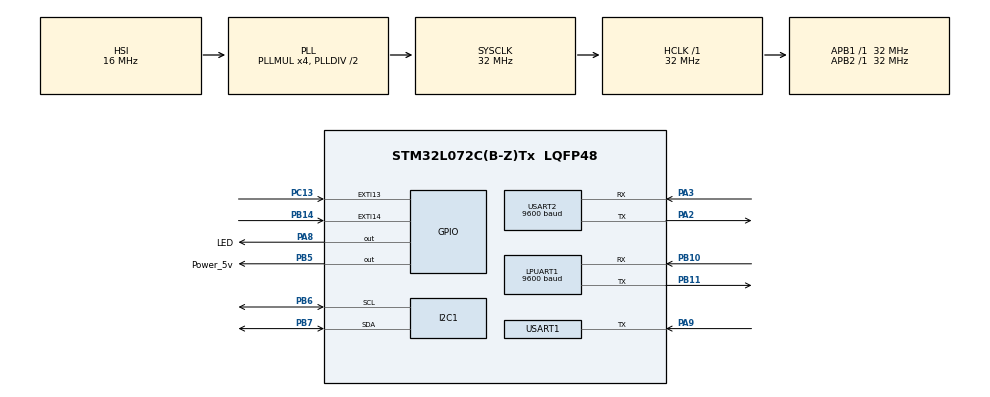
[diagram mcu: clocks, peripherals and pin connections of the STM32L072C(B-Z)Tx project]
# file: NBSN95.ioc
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ADC.ClockPrescaler=ADC_CLOCK_SYNC_PCLK_DIV4
Dma.LPUART1_TX.0.Direction=DMA_MEMORY_TO_PERIPH
Dma.LPUART1_TX.0.Instance=DMA1_Channel2
Dma.LPUART1_TX.0.MemDataAlignment=DMA_MDATAALIGN_BYTE
Dma.LPUART1_TX.0.MemInc=DMA_MINC_ENABLE
Dma.LPUART1_TX.0.Mode=DMA_NORMAL
Dma.LPUART1_TX.0.PeriphDataAlignment=DMA_PDATAALIGN_BYTE
Dma.LPUART1_TX.0.PeriphInc=DMA_PINC_DISABLE
Dma.LPUART1_TX.0.Priority=DMA_PRIORITY_HIGH
Dma.Request0=LPUART1_TX
Dma.Request1=USART1_RX
Dma.USART1_RX.1.Direction=DMA_PERIPH_TO_MEMORY
Dma.USART1_RX.1.Instance=DMA1_Channel3
Dma.USART1_RX.1.MemDataAlignment=DMA_MDATAALIGN_BYTE
Dma.USART1_RX.1.MemInc=DMA_MINC_ENABLE
Dma.USART1_RX.1.Mode=DMA_CIRCULAR
Dma.USART1_RX.1.PeriphDataAlignment=DMA_PDATAALIGN_BYTE
Dma.USART1_RX.1.PeriphInc=DMA_PINC_DISABLE
Dma.USART1_RX.1.Priority=DMA_PRIORITY_HIGH
I2C1.Timing=0x00303D5B
IWDG.Prescaler=IWDG_PRESCALER_256
LPUART1.BaudRate=9600
LPUART1.DMADisableonRxErrorParam=UART_ADVFEATURE_DMA_DISABLEONRXERROR
LPUART1.OverrunDisableParam=UART_ADVFEATURE_OVERRUN_DISABLE
LPUART1.WordLength=UART_WORDLENGTH_8B
Mcu.Family=STM32L0
Mcu.Name=STM32L072C(B-Z)Tx
Mcu.Package=LQFP48
NVIC.DMA1_Channel2_3_IRQn=true\:0\:0\:false\:false\:true\:false\:true\:true
NVIC.EXTI4_15_IRQn=true\:2\:0\:true\:false\:true\:true\:true\:true
NVIC.RNG_LPUART1_IRQn=true\:1\:0\:true\:false\:true\:true\:true\:true
NVIC.RTC_IRQn=true\:0\:0\:false\:false\:true\:true\:true\:true
NVIC.USART1_IRQn=true\:0\:0\:false\:false\:true\:true\:true\:true
NVIC.USART2_IRQn=true\:1\:0\:true\:false\:true\:true\:true\:true
PA13.Mode=Serial_Wire
PA13.Signal=SYS_SWDIO
PA14.Mode=Serial_Wire
PA14.Signal=SYS_SWCLK
PA2.Mode=Asynchronous
PA2.Signal=USART2_TX
PA3.Mode=Asynchronous
PA3.Signal=USART2_RX
PA8.GPIO_Label=LED
PA8.GPIO_Speed=GPIO_SPEED_FREQ_VERY_HIGH
PA8.Signal=GPIO_Output
PA9.Mode=Half_duplex(single_wire_mode)
PA9.Signal=USART1_TX
PB10.GPIO_PuPd=GPIO_PULLUP
PB10.Mode=Asynchronous
PB10.Signal=LPUART1_RX
PB11.GPIO_PuPd=GPIO_PULLUP
PB11.Mode=Asynchronous
PB11.Signal=LPUART1_TX
PB14.GPIO_ModeDefaultEXTI=GPIO_MODE_IT_FALLING
PB14.Signal=GPXTI14
PB5.GPIO_Label=Power_5v
PB5.GPIO_Speed=GPIO_SPEED_FREQ_VERY_HIGH
PB5.PinState=GPIO_PIN_SET
PB5.Signal=GPIO_Output
PB6.GPIO_Pu=GPIO_PULLUP
PB6.Mode=I2C
PB6.Signal=I2C1_SCL
PB7.GPIO_Pu=GPIO_PULLUP
PB7.Mode=I2C
PB7.Signal=I2C1_SDA
PC13.GPIO_ModeDefaultEXTI=GPIO_MODE_IT_FALLING
PC13.Signal=GPXTI13
PC14-OSC32_IN.Mode=LSE-External-Oscillator
PC14-OSC32_IN.Signal=RCC_OSC32_IN
PC15-OSC32_OUT.Mode=LSE-External-Oscillator
PC15-OSC32_OUT.Signal=RCC_OSC32_OUT
ProjectManager.HeapSize=0x200
ProjectManager.StackSize=0x400
ProjectManager.TargetToolchain=MDK-ARM V5.27
RCC.AHBFreq_Value=32000000
RCC.APB1Freq_Value=32000000
RCC.APB1TimFreq_Value=32000000
RCC.APB2Freq_Value=32000000
RCC.APB2TimFreq_Value=32000000
RCC.HCLKFreq_Value=32000000
RCC.HSE_VALUE=8000000
RCC.HSI16_VALUE=16000000
RCC.HSI48_VALUE=48000000
RCC.HSI_VALUE=16000000
RCC.I2c1ClockSelection=RCC_I2C1CLKSOURCE_HSI
RCC.LptimClockSelection=RCC_LPTIM1CLKSOURCE_HSI
RCC.Lpuart1ClockSelection=RCC_LPUART1CLKSOURCE_HSI
RCC.MSI_VALUE=2097000
RCC.PLLMUL=RCC_PLLMUL_4
RCC.RTCClockSelection=RCC_RTCCLKSOURCE_LSI
RCC.RTCClockSelectionVirtual=RCC_RTCCLKSOURCE_LSE
RCC.SYSCLKFreq_VALUE=32000000
RCC.SYSCLKSource=RCC_SYSCLKSOURCE_PLLCLK
RCC.Usart1ClockSelection=RCC_USART1CLKSOURCE_HSI
RCC.Usart2ClockSelection=RCC_USART2CLKSOURCE_HSI
RCC.VCOOutputFreq_Value=64000000
RTC.Alarm-Alarm\ A=RTC_ALARM_A
RTC.Alarm_B-Alarm\ B=RTC_ALARM_B
RTC.Seconds_A-Alarm\ A=5
RTC.Seconds_B-Alarm\ B=3
USART1.BaudRate=9600
USART1.Mode=MODE_RX
USART1.VirtualMode-Half_duplex(single_wire_mode)=VM_ASYNC
USART2.BaudRate=9600
USART2.DMADisableonRxErrorParam=ADVFEATURE_DMA_DISABLEONRXERROR
USART2.Mode=MODE_TX_RX
USART2.OverrunDisableParam=ADVFEATURE_OVERRUN_DISABLE
USART2.VirtualMode-Asynchronous=VM_ASYNC
VP_ADC_Vref_Input.Mode=IN-Vrefint
VP_IWDG_VS_IWDG.Mode=IWDG_Activate
VP_RTC_VS_RTC_Activate.Mode=RTC_Enabled
VP_RTC_VS_RTC_Alarm_A_Intern.Mode=Alarm A
VP_RTC_VS_RTC_Alarm_B_Intern.Mode=Alarm B
VP_RTC_VS_RTC_Calendar.Mode=RTC_Calendar
board=custom

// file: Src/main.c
/* USER CODE BEGIN Header */
/**
  ******************************************************************************
  * @file           : main.c
  * @brief          : Main program body
  ******************************************************************************
  * @attention
  *
  * <h2><center>&copy; Copyright (c) 2020 STMicroelectronics.
  * All rights reserved.</center></h2>
  *
  * This software component is licensed by ST under BSD 3-Clause license,
  * the "License"; You may not use this file except in compliance with the
  * License. You may obtain a copy of the License at:
  *                        opensource.org/licenses/BSD-3-Clause
  *
  ******************************************************************************
	AMS 25Aug22 - added support for A0221AU ultra-sonic which is similar to A02YYUW
	which sends a byte every 300µs over serial - (see ultrasound.c for details). I setup
	UART1 to RX only.
  */
/* USER CODE END Header */
#include "main.h"
#include "adc.h"
#include "dma.h"
#include "i2c.h"
#include "iwdg.h"
#include "usart.h"
#include "rtc.h"
#include "gpio.h"

/* USER CODE BEGIN Includes */
#include "at.h"
#include "lowpower.h"
#include "nbInit.h"
#include "ultrasound.h"
#include "stm32l0xx_hal.h"
/* USER CODE END Includes */

/* USER CODE BEGIN PTD */

/* debug macro definition ----------------------------------------------------*/

//#define ST_DEBUG
#ifndef ST_DEBUG
	#define lowpower_enter
#endif
/* USER CODE END PTD */

/* USER CODE BEGIN PD */

/* NBIOT task macro definition, the task in NBTASK will not be executed after commenting out -*/
#define NBIOT

#define uart1_nibble_size 4
/* USER CODE END PD */

/* USER CODE BEGIN PV */
// uint8_t	1 byte	max 255
// uint16_t	2 bytes	max 65,535 unsigned - A 2-byte signed integer can have a range from -32,768 to 32,767
// uint32_t 4 bytes 	max 4,294,967,295 unsigned, -2,147,483,648 to 2,147,483,647 signed
// https://developer.arm.com/documentation/dui0472/k/C-and-C---Implementation-Details/Basic-data-types-in-ARM-C-and-C--

#ifdef AMS_DEBUG // defined in main.h
	static uint32_t loopcount = 0; // AMS - remove once debugged
#endif // AMS_DEBUG

uint16_t distance_uart1; // max 4000mm

// USART1
static uint8_t uart1_nibble[uart1_nibble_size] = {0};
static uint8_t uart1_rx = 0; // flag

// USART2
static uint8_t  rxbuf_2 = 0;
static uint16_t rxlen_2 = 0;
static uint8_t  rxDATA_2[300]={0};
static uint8_t  uart2_recieve_flag = 0;

static uint8_t rxbuf_lp;
static uint8_t lpuart_recieve_flag = 0;

static uint8_t pwd_time_count = 0;			//Password time count times

static uint8_t task_num = _AT_IDLE;			//NB task directory

static uint8_t error_num = 0;				    //Error count

static uint8_t uplink_time_num = 0;
/* USER CODE END PV */

void SystemClock_Config(void);
/* USER CODE BEGIN PFP */
static void USERTASK(void);
/* USER CODE END PFP */

int main(void)
{
  /* USER CODE BEGIN 1 */
	#ifdef AMS_DEBUG
		__HAL_RCC_DBGMCU_CLK_ENABLE();
		__HAL_DBGMCU_FREEZE_IWDG(); // AMS - remove once debugged - did not work
	#endif // AMS_DEBUG
  /* USER CODE END 1 */

  /* MCU Configuration--------------------------------------------------------*/

  /* Reset of all peripherals, Initializes the Flash interface and the Systick. */
  HAL_Init();

  /* Configure the system clock */
  SystemClock_Config();

  /* Initialize all configured peripherals */
  MX_GPIO_Init();
  MX_DMA_Init();
  MX_USART2_UART_Init();
  MX_LPUART1_UART_Init();
  MX_ADC_Init();
  MX_I2C1_Init();
  MX_USART1_UART_Init();
  MX_IWDG_Init();
  MX_RTC_Init();
  /* USER CODE BEGIN 2 */
	reboot_information_print();
	#ifndef AMS_DEBUG
		new_firmware_update();
	#endif // AMS_DEBUG
	config_Get();
	product_information_print();
	#ifdef AMS_DEBUG
		user_main_info("start HAL_UART_Receive_DMA res = %u\r\n", UART1_DMA);
		uint8_t UART1_DMA = HAL_UART_Receive_DMA(&huart1,(uint8_t*)&uart1_nibble,uart1_nibble_size); // circular
		user_main_info("5v on\r\n");
		HAL_GPIO_WritePin(Power_5v_GPIO_Port, Power_5v_Pin, GPIO_PIN_RESET); // AMS - set back after debugging pin off = 5v on
//	HAL_UARTEx_ReceiveToIdle_DMA(&huart1, uart1_nibble,uart1_nibble_size);
//	HAL_StatusTypeDef res = HAL_UART_Receive_DMA(&huart1, (uint8_t*)&uart1_nibble,uart1_nibble_size);
//	__HAL_DMA_DISABLE_IT(&hdma_usart1_rx, DMA_IT_HT);
		led_on(5000);
	#else
		List_Init(sys.list);
		//	HAL_Delay(3000);
		HAL_UART_Receive_IT(&hlpuart1,(uint8_t*)&rxbuf_lp,1);
		HAL_UART_Receive_IT(&huart2,(uint8_t*)&rxbuf_2,1);
		My_UARTEx_StopModeWakeUp(&huart2);				//Enable serial port wake up
		My_UARTEx_StopModeWakeUp(&hlpuart1);			//Enable serial port wake up
	#endif // AMS_DEBUG
  /* USER CODE END 2 */

  /* Infinite loop */
  /* USER CODE BEGIN WHILE */
#ifdef NBIOT
	if((*(__IO uint8_t *)EEPROM_USER_START_FDR_FLAG) == 0x01)
	{
		task_num = _AT_IDLE;
		HAL_FLASHEx_DATAEEPROM_Unlock();
		HAL_FLASHEx_DATAEEPROM_Program(FLASH_TYPEPROGRAMDATA_WORD,EEPROM_USER_START_FDR_FLAG,0x00);
		HAL_FLASHEx_DATAEEPROM_Lock();
	}
	else
		task_num = _AT_FLAG_INIT;
#else
	task_num = _AT_IDLE;
#endif
  while (1)
  {
		#ifdef AMS_DEBUG
			HAL_IWDG_Refresh(&hiwdg);
			led_on(100);
			loopcount++;
			if ((loopcount % 100) < 1)
			{
				user_main_debug("loop %i |", loopcount);
			}
		#else
			HAL_Delay(20);
		#endif // AMS_DEBUG
    /* USER CODE END WHILE */

    /* USER CODE BEGIN 3 */
		if(uart1_rx)
		{
			#ifdef AMS_DEBUG
				for (int i = 0; i < uart1_nibble_size; i++)
				{
					printf("%02x |", uart1_nibble[i]);
		//				uart1_nibble[id] = 0;
				}
				if(uart1_nibble[0] == 0xff) // header
				{
					uint8_t checksum = (uart1_nibble[0]+uart1_nibble[1]+uart1_nibble[2])&0x00FF; ;
					if(checksum==uart1_nibble[3])
					{
						distance_uart1=(uart1_nibble[1]<<8) + uart1_nibble[2];
							printf(" = %u mm\r\n",distance_uart1);
					}
							else
							{
								printf("\r\n");
							}
				}
				else if(uart1_nibble[2] == 0xff) // header
				{
					uint8_t checksum = (uart1_nibble[2]+uart1_nibble[3]+uart1_nibble[0])&0x00FF; ;
					if(checksum==uart1_nibble[1])
					{
						distance_uart1=(uart1_nibble[3]<<8) + uart1_nibble[0];
							printf(" = %u mm\r\n",distance_uart1);
					}
							else
							{
								printf("\r\n");
							}
				}
				else
				{
					printf(" unknown order\r\n");
				}
				led_on(200);
			#else
				if(uart1_nibble[0] == 0xff) // header
				{
					uint8_t checksum = (uart1_nibble[0]+uart1_nibble[1]+uart1_nibble[2])&0x00FF; ;
					if(checksum==uart1_nibble[3])
					{
						distance_uart1=(uart1_nibble[1]<<8) + uart1_nibble[2];
					}
				}
				else if(uart1_nibble[2] == 0xff) // header
				{
					uint8_t checksum = (uart1_nibble[2]+uart1_nibble[3]+uart1_nibble[0])&0x00FF; ;
					if(checksum==uart1_nibble[1])
					{
						distance_uart1=(uart1_nibble[3]<<8) + uart1_nibble[0];
					}
				}
				user_main_info("A0221AU Distance = %d\r\n", distance_uart1);
//				static uint8_t readings[3]; // how many
//				static uint8_t i;
//				if (i < 3)
//				if (
			#endif // AMS_DEBUG
			uart1_rx = 0;
		}

	#ifdef NBIOT
		user_main_debug("NBIOT task_num = %i", task_num);
		if(task_num != _AT_IDLE)
		{
			HAL_Delay(1000);
			if(NBTASK(&task_num) == _AT_ERROR)
			{
				error_num++;
			}
	  }
		if(error_num > 3 && nb.uplink_flag == no_status)
		{
			user_main_printf("Restart the module...");
			task_num = _AT_NRB;
			error_num = 0;
		}

		if(nb.recieve_flag == NB_RECIEVE && nb.uplink_flag == send)
		{
			task_num = _AT_URI;
			nb.recieve_flag = NB_IDIE;
		}
	#endif

//	#ifndef AMS_DEBUG
		USERTASK();
		#ifdef lowpower_enter
				if(task_num == _AT_IDLE && uart2_recieve_flag==0)
				{
					LPM_EnterStopMode(SystemClock_Config);
				}
		#endif // lowpower_enter
//	#endif // AMS_DEBUG
  }
  /* USER CODE END 3 */
}

void SystemClock_Config(void)
{
  RCC_OscInitTypeDef RCC_OscInitStruct = {0};
  RCC_ClkInitTypeDef RCC_ClkInitStruct = {0};
  RCC_PeriphCLKInitTypeDef PeriphClkInit = {0};

  /** Configure the main internal regulator output voltage
  */
  __HAL_PWR_VOLTAGESCALING_CONFIG(PWR_REGULATOR_VOLTAGE_SCALE1);

  /** Initializes the RCC Oscillators according to the specified parameters
  * in the RCC_OscInitTypeDef structure.
  */
  RCC_OscInitStruct.OscillatorType = RCC_OSCILLATORTYPE_HSI|RCC_OSCILLATORTYPE_LSI;
  RCC_OscInitStruct.HSIState = RCC_HSI_ON;
  RCC_OscInitStruct.HSICalibrationValue = RCC_HSICALIBRATION_DEFAULT;
  RCC_OscInitStruct.LSIState = RCC_LSI_ON;
  RCC_OscInitStruct.PLL.PLLState = RCC_PLL_ON;
  RCC_OscInitStruct.PLL.PLLSource = RCC_PLLSOURCE_HSI;
  RCC_OscInitStruct.PLL.PLLMUL = RCC_PLLMUL_4;
  RCC_OscInitStruct.PLL.PLLDIV = RCC_PLLDIV_2;
  if (HAL_RCC_OscConfig(&RCC_OscInitStruct) != HAL_OK)
  {
    Error_Handler();
  }

  /** Initializes the CPU, AHB and APB buses clocks
  */
  RCC_ClkInitStruct.ClockType = RCC_CLOCKTYPE_HCLK|RCC_CLOCKTYPE_SYSCLK
                              |RCC_CLOCKTYPE_PCLK1|RCC_CLOCKTYPE_PCLK2;
  RCC_ClkInitStruct.SYSCLKSource = RCC_SYSCLKSOURCE_PLLCLK;
  RCC_ClkInitStruct.AHBCLKDivider = RCC_SYSCLK_DIV1;
  RCC_ClkInitStruct.APB1CLKDivider = RCC_HCLK_DIV1;
  RCC_ClkInitStruct.APB2CLKDivider = RCC_HCLK_DIV1;

  if (HAL_RCC_ClockConfig(&RCC_ClkInitStruct, FLASH_LATENCY_1) != HAL_OK)
  {
    Error_Handler();
  }
  PeriphClkInit.PeriphClockSelection = RCC_PERIPHCLK_USART1|RCC_PERIPHCLK_USART2
                              |RCC_PERIPHCLK_LPUART1|RCC_PERIPHCLK_I2C1
                              |RCC_PERIPHCLK_RTC;
  PeriphClkInit.Usart1ClockSelection = RCC_USART1CLKSOURCE_HSI;
  PeriphClkInit.Usart2ClockSelection = RCC_USART2CLKSOURCE_HSI;
  PeriphClkInit.Lpuart1ClockSelection = RCC_LPUART1CLKSOURCE_HSI;
  PeriphClkInit.I2c1ClockSelection = RCC_I2C1CLKSOURCE_HSI;
  PeriphClkInit.RTCClockSelection = RCC_RTCCLKSOURCE_LSI;
  if (HAL_RCCEx_PeriphCLKConfig(&PeriphClkInit) != HAL_OK)
  {
    Error_Handler();
  }
}

/* USER CODE BEGIN 4 */
static void USERTASK(void)
{
	if(sys.pwd_flag==1 && sys.pwd_flag == 0 && pwd_time_count == 0)
	{
		HAL_UART_Transmit(&huart2,(uint8_t*)"Password timeout\r\n",20,20);
	}

	if(sys.pwd_flag == 0 && uart2_recieve_flag)
	{
		rtrim((char*)rxDATA_2);
		if(strcmp((char*)rxDATA_2,(char*)sys.pwd) == 0 && strlen((char*)rxDATA_2) < 9)
		{
			user_main_printf("Password Correct");
			sys.pwd_flag = 1;
		}
		else
		{
			user_main_printf("Password Incorrect");
		}
	}
	else if(sys.pwd_flag != 0 && uart2_recieve_flag)
	{
		ATEerror_t AT_State = ATInsPro((char*)rxDATA_2);
		if(AT_State == AT_OK)
			printf("%s\r\n",ATError_description[AT_OK]);
		else if(AT_State == AT_PARAM_ERROR)
			printf("%s",ATError_description[AT_PARAM_ERROR]);
		else if(AT_State == AT_BUSY_ERROR)
			printf("%s",ATError_description[AT_BUSY_ERROR]);
		else if(AT_State == AT_TEST_PARAM_OVERFLOW)
			printf("%s",ATError_description[AT_TEST_PARAM_OVERFLOW]);
		else if(AT_State == AT_RX_ERROR)
			printf("%s",ATError_description[AT_RX_ERROR]);
		else if(AT_State == AT_ERROR)
		{
			nb.usart.len = 0;
			memset(nb.usart.data,0,NB_RX_SIZE);
			rxDATA_2[strlen((char*)rxDATA_2)] = '\n';
			HAL_UART_Transmit_DMA(&hlpuart1,(uint8_t*)rxDATA_2,strlen((char*)rxDATA_2));
			HAL_Delay(500);					//Waiting to Send
		}
	}

	if(uart2_recieve_flag == 1)
	{
		rxlen_2 = 0;
		uart2_recieve_flag = 0;
		memset(rxDATA_2,0,sizeof(rxDATA_2));
	}
	if(lpuart_recieve_flag == 1)
	{
		printf("%s",nb.usart.data);
		nb.usart.len = 0;
		lpuart_recieve_flag = 0;
		memset(nb.usart.data,0,NB_RX_SIZE);
	}
}

void HAL_UART_RxCpltCallback(UART_HandleTypeDef *huart)
{
	if(huart == &hlpuart1) // modem
	{
		nb.usart.data[nb.usart.len++] = rxbuf_lp;
		if(task_num == _AT_IDLE)
		{
			if(rxbuf_lp == '\r' || rxbuf_lp == '\n')
			{
				lpuart_recieve_flag = 1;
			}
		}
		HAL_UART_Receive_IT(&hlpuart1,(uint8_t*)&rxbuf_lp,1);
	}
	else if(huart == &huart1) // Async sensor A02YYUW/A0221AU
	{
		uart1_rx = 1;
		//		HAL_UART_DMAPause(&huart1);
	}
	else if(huart == &huart2) // console
	{
		rxDATA_2[rxlen_2++] = rxbuf_2;
		if(rxbuf_2 == '\r' || rxbuf_2 == '\n')
		{
			uart2_recieve_flag = 1;
		}
		HAL_UART_Receive_IT(&huart2,(uint8_t*)&rxbuf_2,1);
	}
}

void HAL_RTC_AlarmAEventCallback(RTC_HandleTypeDef *hrtc)
{
	user_main_debug("HAL_RTC_AlarmAEventCallback - kick off upload\r\n"); //AMS should be every 5 sec
	if(nb.net_flag == no_status)
		task_num = _AT_FLAG_INIT;
	else if(nb.net_flag == success && nb.uplink_flag == no_status)
		task_num = _AT_CSQ;

	LPM_DisableStopMode();
	distance_uart1 = 0;
	user_main_debug("5v on\r\n");
	HAL_GPIO_WritePin(Power_5v_GPIO_Port, Power_5v_Pin, GPIO_PIN_RESET); // 5v on AMS added here to give time for a reading
}

void HAL_RTCEx_AlarmBEventCallback(RTC_HandleTypeDef *hrtc)
{
	HAL_IWDG_Refresh(&hiwdg);
	user_main_debug("HAL_RTCEx_AlarmBEventCallback fed the dog\r\n"); //AMS should be every 5 sec

#ifdef NBIOT
	if(sys.pwd_flag==1)
	{
		pwd_time_count++;
		if(pwd_time_count == 17)
		{
			sys.pwd_flag = 0;
			pwd_time_count = 0;
		}
	}
#endif

	if(nb.net_flag == fail)
		task_num = _AT_CSQ;
	if(nb.net_flag == success && nb.uplink_flag == send)
	{
		uplink_time_num++;
		if(uplink_time_num>=7)
		{
			uplink_time_num = 0;
			error_num++;
			if(sys.protocol == COAP_PRO)			{task_num = _AT_COAP_CLOSE;}
			else if(sys.protocol == UDP_PRO)	{task_num	=	_AT_UDP_CLOSE;}
			else if(sys.protocol == MQTT_PRO)	{task_num	=	_AT_MQTT_CLOSE;}
			else if(sys.protocol == TCP_PRO)	{task_num	=	_AT_TCP_CLOSE;}
		}
	}
	else
		uplink_time_num = 0;

	My_AlarmInit(18,1);
}

void HAL_GPIO_EXTI_Callback(uint16_t GPIO_Pin)
{
	if(GPIO_Pin == GPIO_PIN_14)
	{
		if(sys.mod == model6)
			sensor.exit_count++;
		else if(nb.net_flag == success && sys.mod != model6 && (task_num < _AT_COAP_CONFIG || task_num > _AT_TCP_CLOSE))
		{
			task_num = _AT_CSQ;
			sys.exit_flag = 1;
			//sensor.exit_state = HAL_GPIO_ReadPin(GPIOB,GPIO_PIN_14)==1?1:2;
			sensor.exit_state = 1;
			LPM_DisableStopMode();
		}
	}
	else if(GPIO_Pin == GPIO_PIN_13)
	{
		nb.recieve_flag = NB_RECIEVE;
	}
}
/* USER CODE END 4 */

void Error_Handler(void)
{
}
